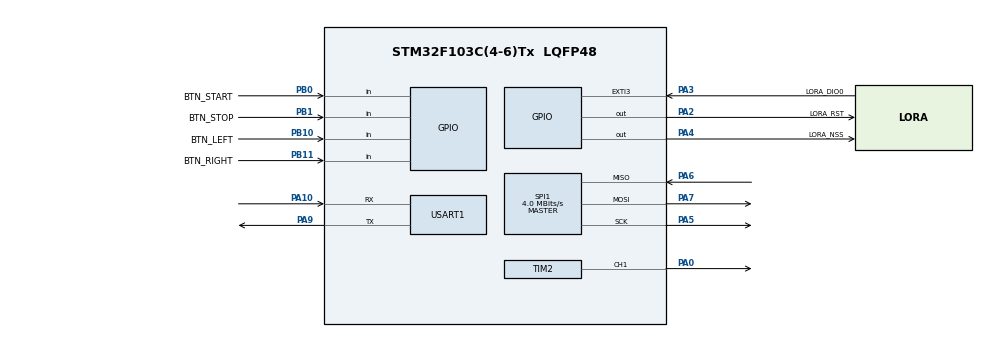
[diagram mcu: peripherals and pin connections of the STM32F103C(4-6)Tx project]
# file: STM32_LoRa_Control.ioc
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Mcu.Family=STM32F1
Mcu.Name=STM32F103C(4-6)Tx
Mcu.Package=LQFP48
NVIC.EXTI3_IRQn=true\:0\:0\:false\:false\:true\:true\:true\:true
NVIC.PriorityGroup=NVIC_PRIORITYGROUP_4
NVIC.USART1_IRQn=true\:0\:0\:false\:false\:true\:true\:true\:true
PA0-WKUP.Signal=S_TIM2_CH1_ETR
PA10.Mode=Asynchronous
PA10.Signal=USART1_RX
PA2.GPIO_Label=LORA_RST
PA2.PinState=GPIO_PIN_SET
PA2.Signal=GPIO_Output
PA3.GPIO_Label=LORA_DIO0
PA3.Signal=GPXTI3
PA4.GPIO_Label=LORA_NSS
PA4.PinState=GPIO_PIN_SET
PA4.Signal=GPIO_Output
PA5.Mode=Full_Duplex_Master
PA5.Signal=SPI1_SCK
PA6.Mode=Full_Duplex_Master
PA6.Signal=SPI1_MISO
PA7.Mode=Full_Duplex_Master
PA7.Signal=SPI1_MOSI
PA9.Mode=Asynchronous
PA9.Signal=USART1_TX
PB0.GPIO_Label=BTN_START
PB0.GPIO_PuPd=GPIO_PULLUP
PB0.Signal=GPIO_Input
PB1.GPIO_Label=BTN_STOP
PB1.GPIO_PuPd=GPIO_PULLUP
PB1.Signal=GPIO_Input
PB10.GPIO_Label=BTN_LEFT
PB10.GPIO_PuPd=GPIO_PULLUP
PB10.Signal=GPIO_Input
PB11.GPIO_Label=BTN_RIGHT
PB11.GPIO_PuPd=GPIO_PULLUP
PB11.Signal=GPIO_Input
ProjectManager.HeapSize=0x200
ProjectManager.StackSize=0x400
ProjectManager.TargetToolchain=STM32CubeIDE
RCC.APB1Freq_Value=8000000
RCC.APB2Freq_Value=8000000
SH.S_TIM2_CH1_ETR.0=TIM2_CH1,PWM Generation1 CH1
SPI1.CalculateBaudRate=4.0 MBits/s
SPI1.Direction=SPI_DIRECTION_2LINES
SPI1.Mode=SPI_MODE_MASTER
SPI1.VirtualType=VM_MASTER
TIM2.AutoReloadPreload=TIM_AUTORELOAD_PRELOAD_ENABLE
TIM2.Channel-PWM\ Generation1\ CH1=TIM_CHANNEL_1
TIM2.Period=999
TIM2.Prescaler=7
USART1.VirtualMode=VM_ASYNC
VP_SYS_VS_ND.Mode=No_Debug
VP_TIM2_VS_ClockSourceINT.Mode=Internal
board=custom

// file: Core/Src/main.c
/* USER CODE BEGIN Header */
/**
  ******************************************************************************
  * @file           : main.c
  * @brief          : Main program body
  ******************************************************************************
  * @attention
  *
  * Copyright (c) 2026 STMicroelectronics.
  * All rights reserved.
  *
  * This software is licensed under terms that can be found in the LICENSE file
  * in the root directory of this software component.
  * If no LICENSE file comes with this software, it is provided AS-IS.
  *
  ******************************************************************************
  */
/* USER CODE END Header */
#include "main.h"

/* USER CODE BEGIN Includes */
#include "UART.h"
#include "CommandParser.h"
#include "SX1278.h"
#include "RadioControl.h"
#include "PwmOutput.h"
/* USER CODE END Includes */

SPI_HandleTypeDef hspi1;

TIM_HandleTypeDef htim2;

UART_HandleTypeDef huart1;

/* USER CODE BEGIN PV */
char uart_line[DEBUG_UART_LINE_SIZE];
/* USER CODE END PV */

void SystemClock_Config(void);
static void MX_GPIO_Init(void);
static void MX_USART1_UART_Init(void);
static void MX_SPI1_Init(void);
static void MX_TIM2_Init(void);

int main(void)
{

  /* MCU Configuration--------------------------------------------------------*/

  /* Reset of all peripherals, Initializes the Flash interface and the Systick. */
  HAL_Init();

  /* Configure the system clock */
  SystemClock_Config();

  /* Initialize all configured peripherals */
  MX_GPIO_Init();
  MX_USART1_UART_Init();
  MX_SPI1_Init();
  MX_TIM2_Init();
  /* USER CODE BEGIN 2 */
  DebugUART_Init(&huart1);

  if (PwmOutput_Init(&htim2) != HAL_OK)
  {
      DebugUART_Print("PWM init ERROR: check TIM2 PSC=7 ARR=999\r\n");
      Error_Handler();
  }

  DebugUART_Print("PWM PA0 initialized: timer 1 kHz, duty 0%\r\n");

  DebugUART_Print("\r\nSystem started!\r\n");
  DebugUART_Print("UART TX/RX initialized\r\n");

  CommandParser_Init();

  DebugUART_Print("\r\nSX1278 initialization...\r\n");

  SX1278_Config lora_config = SX1278_DefaultConfig();

  SX1278_Status result = SX1278_Init(&hspi1, &lora_config);

  if (result == SX1278_OK)
  {
      DebugUART_Print("SX1278 initialized OK\r\n");

      DebugUART_Printf(
          "SX1278 Version: 0x%02X\r\n",
          SX1278_ReadVersion()
      );

      result = RadioControl_Init();
      if (result != SX1278_OK)
      {
          DebugUART_Printf("RadioControl init ERROR: %d\r\n", (int)result);
      }
  }
  else
  {
      DebugUART_Printf(
          "SX1278 initialization ERROR: %d\r\n",
          result
      );

      DebugUART_Printf(
          "RegVersion: 0x%02X\r\n",
          SX1278_ReadVersion()
      );

      DebugUART_Printf(
          "SPI State: %d\r\n",
          HAL_SPI_GetState(&hspi1)
      );

      DebugUART_Printf(
          "SPI Error: 0x%lX\r\n",
          (unsigned long)HAL_SPI_GetError(&hspi1)
      );
  }
  /* USER CODE END 2 */

  /* Infinite loop */
  /* USER CODE BEGIN WHILE */
  while (1)
  {
      if (DebugUART_ReadLine(uart_line, sizeof(uart_line)))
      {
          CommandParser_Process(uart_line);
      }

      RadioControl_Process();
    /* USER CODE END WHILE */

  }
}

void SystemClock_Config(void)
{
  RCC_OscInitTypeDef RCC_OscInitStruct = {0};
  RCC_ClkInitTypeDef RCC_ClkInitStruct = {0};

  /** Initializes the RCC Oscillators according to the specified parameters
  * in the RCC_OscInitTypeDef structure.
  */
  RCC_OscInitStruct.OscillatorType = RCC_OSCILLATORTYPE_HSI;
  RCC_OscInitStruct.HSIState = RCC_HSI_ON;
  RCC_OscInitStruct.HSICalibrationValue = RCC_HSICALIBRATION_DEFAULT;
  RCC_OscInitStruct.PLL.PLLState = RCC_PLL_NONE;
  if (HAL_RCC_OscConfig(&RCC_OscInitStruct) != HAL_OK)
  {
    Error_Handler();
  }

  /** Initializes the CPU, AHB and APB buses clocks
  */
  RCC_ClkInitStruct.ClockType = RCC_CLOCKTYPE_HCLK|RCC_CLOCKTYPE_SYSCLK
                              |RCC_CLOCKTYPE_PCLK1|RCC_CLOCKTYPE_PCLK2;
  RCC_ClkInitStruct.SYSCLKSource = RCC_SYSCLKSOURCE_HSI;
  RCC_ClkInitStruct.AHBCLKDivider = RCC_SYSCLK_DIV1;
  RCC_ClkInitStruct.APB1CLKDivider = RCC_HCLK_DIV1;
  RCC_ClkInitStruct.APB2CLKDivider = RCC_HCLK_DIV1;

  if (HAL_RCC_ClockConfig(&RCC_ClkInitStruct, FLASH_LATENCY_0) != HAL_OK)
  {
    Error_Handler();
  }
}

static void MX_SPI1_Init(void)
{

  /* SPI1 parameter configuration*/
  hspi1.Instance = SPI1;
  hspi1.Init.Mode = SPI_MODE_MASTER;
  hspi1.Init.Direction = SPI_DIRECTION_2LINES;
  hspi1.Init.DataSize = SPI_DATASIZE_8BIT;
  hspi1.Init.CLKPolarity = SPI_POLARITY_LOW;
  hspi1.Init.CLKPhase = SPI_PHASE_1EDGE;
  hspi1.Init.NSS = SPI_NSS_SOFT;
  hspi1.Init.BaudRatePrescaler = SPI_BAUDRATEPRESCALER_2;
  hspi1.Init.FirstBit = SPI_FIRSTBIT_MSB;
  hspi1.Init.TIMode = SPI_TIMODE_DISABLE;
  hspi1.Init.CRCCalculation = SPI_CRCCALCULATION_DISABLE;
  hspi1.Init.CRCPolynomial = 10;
  if (HAL_SPI_Init(&hspi1) != HAL_OK)
  {
    Error_Handler();
  }

}

static void MX_TIM2_Init(void)
{

  TIM_ClockConfigTypeDef sClockSourceConfig = {0};
  TIM_MasterConfigTypeDef sMasterConfig = {0};
  TIM_OC_InitTypeDef sConfigOC = {0};

  htim2.Instance = TIM2;
  htim2.Init.Prescaler = 7;
  htim2.Init.CounterMode = TIM_COUNTERMODE_UP;
  htim2.Init.Period = 999;
  htim2.Init.ClockDivision = TIM_CLOCKDIVISION_DIV1;
  htim2.Init.AutoReloadPreload = TIM_AUTORELOAD_PRELOAD_ENABLE;
  if (HAL_TIM_Base_Init(&htim2) != HAL_OK)
  {
    Error_Handler();
  }
  sClockSourceConfig.ClockSource = TIM_CLOCKSOURCE_INTERNAL;
  if (HAL_TIM_ConfigClockSource(&htim2, &sClockSourceConfig) != HAL_OK)
  {
    Error_Handler();
  }
  if (HAL_TIM_PWM_Init(&htim2) != HAL_OK)
  {
    Error_Handler();
  }
  sMasterConfig.MasterOutputTrigger = TIM_TRGO_RESET;
  sMasterConfig.MasterSlaveMode = TIM_MASTERSLAVEMODE_DISABLE;
  if (HAL_TIMEx_MasterConfigSynchronization(&htim2, &sMasterConfig) != HAL_OK)
  {
    Error_Handler();
  }
  sConfigOC.OCMode = TIM_OCMODE_PWM1;
  sConfigOC.Pulse = 0;
  sConfigOC.OCPolarity = TIM_OCPOLARITY_HIGH;
  sConfigOC.OCFastMode = TIM_OCFAST_DISABLE;
  if (HAL_TIM_PWM_ConfigChannel(&htim2, &sConfigOC, TIM_CHANNEL_1) != HAL_OK)
  {
    Error_Handler();
  }
  HAL_TIM_MspPostInit(&htim2);

}

static void MX_USART1_UART_Init(void)
{

  huart1.Instance = USART1;
  huart1.Init.BaudRate = 115200;
  huart1.Init.WordLength = UART_WORDLENGTH_8B;
  huart1.Init.StopBits = UART_STOPBITS_1;
  huart1.Init.Parity = UART_PARITY_NONE;
  huart1.Init.Mode = UART_MODE_TX_RX;
  huart1.Init.HwFlowCtl = UART_HWCONTROL_NONE;
  huart1.Init.OverSampling = UART_OVERSAMPLING_16;
  if (HAL_UART_Init(&huart1) != HAL_OK)
  {
    Error_Handler();
  }

}

static void MX_GPIO_Init(void)
{
  GPIO_InitTypeDef GPIO_InitStruct = {0};

  /* GPIO Ports Clock Enable */
  __HAL_RCC_GPIOA_CLK_ENABLE();
  __HAL_RCC_GPIOB_CLK_ENABLE();

  /*Configure GPIO pin Output Level */
  HAL_GPIO_WritePin(GPIOA, LORA_RST_Pin|LORA_NSS_Pin, GPIO_PIN_SET);

  /*Configure GPIO pins : LORA_RST_Pin LORA_NSS_Pin */
  GPIO_InitStruct.Pin = LORA_RST_Pin|LORA_NSS_Pin;
  GPIO_InitStruct.Mode = GPIO_MODE_OUTPUT_PP;
  GPIO_InitStruct.Pull = GPIO_NOPULL;
  GPIO_InitStruct.Speed = GPIO_SPEED_FREQ_LOW;
  HAL_GPIO_Init(GPIOA, &GPIO_InitStruct);

  /*Configure GPIO pin : LORA_DIO0_Pin */
  GPIO_InitStruct.Pin = LORA_DIO0_Pin;
  GPIO_InitStruct.Mode = GPIO_MODE_IT_RISING;
  GPIO_InitStruct.Pull = GPIO_NOPULL;
  HAL_GPIO_Init(LORA_DIO0_GPIO_Port, &GPIO_InitStruct);

  /*Configure GPIO pins : BTN_START_Pin BTN_STOP_Pin BTN_LEFT_Pin BTN_RIGHT_Pin */
  GPIO_InitStruct.Pin = BTN_START_Pin|BTN_STOP_Pin|BTN_LEFT_Pin|BTN_RIGHT_Pin;
  GPIO_InitStruct.Mode = GPIO_MODE_INPUT;
  GPIO_InitStruct.Pull = GPIO_PULLUP;
  HAL_GPIO_Init(GPIOB, &GPIO_InitStruct);

  /* EXTI interrupt init*/
  HAL_NVIC_SetPriority(EXTI3_IRQn, 0, 0);
  HAL_NVIC_EnableIRQ(EXTI3_IRQn);

}

/* USER CODE BEGIN 4 */

void HAL_UART_RxCpltCallback(UART_HandleTypeDef *huart)
	{
    DebugUART_RxCallback(huart);
}

void HAL_GPIO_EXTI_Callback(uint16_t GPIO_Pin)
{
    if (GPIO_Pin == LORA_DIO0_Pin)
    {
        SX1278_Dio0IrqHandler();
    }
}
/* USER CODE END 4 */

void Error_Handler(void)
{
  __disable_irq();
  while (1)
  {
  }
}
